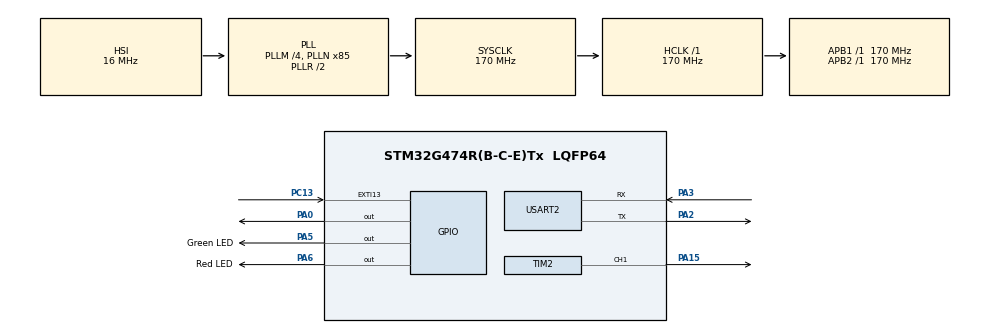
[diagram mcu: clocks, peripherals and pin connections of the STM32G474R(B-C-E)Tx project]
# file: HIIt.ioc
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Mcu.Family=STM32G4
Mcu.Name=STM32G474R(B-C-E)Tx
Mcu.Package=LQFP64
NVIC.EXTI15_10_IRQn=true\:1\:0\:true\:false\:true\:true\:true\:true
NVIC.PriorityGroup=NVIC_PRIORITYGROUP_4
NVIC.TIM2_IRQn=true\:0\:0\:false\:false\:true\:true\:true\:true
NVIC.USART2_IRQn=true\:2\:0\:true\:false\:true\:true\:true\:true
PA0.Signal=GPIO_Output
PA13.GPIO_Label=T_SWDIO
PA13.Signal=SYS_JTMS-SWDIO
PA14.GPIO_Label=T_SWCLK
PA14.Signal=SYS_JTCK-SWCLK
PA15.Signal=S_TIM2_CH1
PA2.Mode=Asynchronous
PA2.Signal=USART2_TX
PA3.Mode=Asynchronous
PA3.Signal=USART2_RX
PA5.GPIO_Label=Green LED
PA5.GPIO_PuPd=GPIO_NOPULL
PA5.Signal=GPIO_Output
PA6.GPIO_Label=Red LED
PA6.Signal=GPIO_Output
PB3.GPIO_Label=T_SWO
PB3.Signal=SYS_JTDO-SWO
PC13.GPIO_ModeDefaultEXTI=GPIO_MODE_IT_FALLING
PC13.GPIO_PuPd=GPIO_PULLUP
PC13.Signal=GPXTI13
PC14-OSC32_IN.GPIO_Label=RCC_OSC32_IN
PC14-OSC32_IN.Signal=RCC_OSC32_IN
PC15-OSC32_OUT.GPIO_Label=RCC_OSC32_OUT
PC15-OSC32_OUT.Signal=RCC_OSC32_OUT
PF0-OSC_IN.GPIO_Label=RCC_OSC_IN
PF0-OSC_IN.Signal=RCC_OSC_IN
PF1-OSC_OUT.GPIO_Label=RCC_OSC_OUT
PF1-OSC_OUT.Signal=RCC_OSC_OUT
ProjectManager.HeapSize=0x200
ProjectManager.StackSize=0x400
ProjectManager.TargetToolchain=STM32CubeIDE
RCC.ADC12Freq_Value=170000000
RCC.ADC345Freq_Value=170000000
RCC.AHBFreq_Value=170000000
RCC.APB1Freq_Value=170000000
RCC.APB1TimFreq_Value=170000000
RCC.APB2Freq_Value=170000000
RCC.APB2TimFreq_Value=170000000
RCC.CortexFreq_Value=170000000
RCC.EXTERNAL_CLOCK_VALUE=12288000
RCC.HCLKFreq_Value=170000000
RCC.HSE_VALUE=24000000
RCC.HSI48_VALUE=48000000
RCC.HSI_VALUE=16000000
RCC.LSE_VALUE=32768
RCC.PLLM=RCC_PLLM_DIV4
RCC.PLLN=85
RCC.RTCClockSelection=RCC_RTCCLKSOURCE_LSE
RCC.SYSCLKFreq_VALUE=170000000
RCC.SYSCLKSource=RCC_SYSCLKSOURCE_PLLCLK
RCC.USBFreq_Value=170000000
RCC.VCOOutputFreq_Value=340000000
SH.S_TIM2_CH1.0=TIM2_CH1,PWM Generation1 CH1
TIM2.AutoReloadPreload=TIM_AUTORELOAD_PRELOAD_DISABLE
TIM2.Channel-PWM\ Generation1\ CH1=TIM_CHANNEL_1
TIM2.PeriodNoDither=999
TIM2.Prescaler=169
TIM2.PulseNoDither_1=500
USART2.SwapParam=ADVFEATURE_SWAP_DISABLE
USART2.VirtualMode-Asynchronous=VM_ASYNC
VP_SYS_VS_DBSignals.Mode=DisableDeadBatterySignals
VP_TIM2_VS_ClockSourceINT.Mode=Internal
board=NUCLEO-G474RE

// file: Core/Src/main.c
/* USER CODE BEGIN Header */
/**
  ******************************************************************************
  * @file           : main.c
  * @brief          : Main program body
  ******************************************************************************
  * @attention
  *
  * Copyright (c) 2026 STMicroelectronics.
  * All rights reserved.
  *
  * This software is licensed under terms that can be found in the LICENSE file
  * in the root directory of this software component.
  * If no LICENSE file comes with this software, it is provided AS-IS.
  *
  ******************************************************************************
  */
/* USER CODE END Header */
#include "main.h"

/* USER CODE BEGIN Includes */
#include <stdio.h>
#include <string.h>
#include <stdlib.h>
/* USER CODE END Includes */

TIM_HandleTypeDef htim2;

UART_HandleTypeDef huart2;

/* USER CODE BEGIN PV */
// HIIT 運行狀態列舉
typedef enum {
    STATE_IDLE = 0,     // 待機狀態
    STATE_EXERCISE,     // 運動狀態 (綠燈)
    STATE_REST          // 休息狀態 (紅燈)
} HIIT_State_t;

HIIT_State_t current_state = STATE_IDLE;

// 參數設定變數
uint32_t total_sets = 3;       // 預設總組數
uint32_t exercise_time = 30;   // 預設運動秒數
uint32_t rest_time = 15;       // 預設休息秒數

// 運行時動態變數
uint32_t current_set = 0;      // 當前組數
uint32_t remaining_time = 0;   // 當前狀態剩餘秒數
uint8_t is_running = 0;        // 0: 暫停/停止, 1: 運行中

// 按鍵去彈跳變數
uint32_t t_btn_last = 0;

// UART 接收緩衝區
#define RX_BUFFER_SIZE 64
uint8_t rx_byte;
char rx_buffer[RX_BUFFER_SIZE];
uint8_t rx_index = 0;
/* USER CODE END PV */

void SystemClock_Config(void);
static void MX_GPIO_Init(void);
static void MX_USART2_UART_Init(void);
static void MX_TIM2_Init(void);

/* USER CODE BEGIN 0 */
/* USER CODE BEGIN 0 */
// 定義初始化周邊的自訂函式
void HIIT_Init_Peripherals(void) {
    // 啟動 TIM2 定時器中斷 (每 1ms 觸發一次)
    HAL_TIM_Base_Start_IT(&htim2);
    // 啟動 USART2 接收中斷 (單字元接收)
    HAL_UART_Receive_IT(&huart2, &rx_byte, 1);

    // 初始化時先關閉所有燈號
    HAL_GPIO_WritePin(GPIOA, GPIO_PIN_5, GPIO_PIN_RESET); // 綠燈關
    HAL_GPIO_WritePin(GPIOA, GPIO_PIN_6, GPIO_PIN_RESET); // 紅燈關
    HAL_GPIO_WritePin(GPIOA, GPIO_PIN_0, GPIO_PIN_RESET); // 蜂鳴器關
}
/* USER CODE END 0 */
/* USER CODE END 0 */

int main(void)
{

  /* MCU Configuration--------------------------------------------------------*/

  /* Reset of all peripherals, Initializes the Flash interface and the Systick. */
  HAL_Init();

  /* Configure the system clock */
  SystemClock_Config();

  /* Initialize all configured peripherals */
  MX_GPIO_Init();
    MX_USART2_UART_Init();
    MX_TIM2_Init();
    /* USER CODE BEGIN 2 */

    // 直接呼叫已經定義好的初始化函式
    HIIT_Init_Peripherals();
  /* USER CODE END 2 */

  /* Infinite loop */
  while (1)
  {

  }
}

void SystemClock_Config(void)
{
  RCC_OscInitTypeDef RCC_OscInitStruct = {0};
  RCC_ClkInitTypeDef RCC_ClkInitStruct = {0};

  /** Configure the main internal regulator output voltage
  */
  HAL_PWREx_ControlVoltageScaling(PWR_REGULATOR_VOLTAGE_SCALE1_BOOST);

  /** Initializes the RCC Oscillators according to the specified parameters
  * in the RCC_OscInitTypeDef structure.
  */
  RCC_OscInitStruct.OscillatorType = RCC_OSCILLATORTYPE_HSI;
  RCC_OscInitStruct.HSIState = RCC_HSI_ON;
  RCC_OscInitStruct.HSICalibrationValue = RCC_HSICALIBRATION_DEFAULT;
  RCC_OscInitStruct.PLL.PLLState = RCC_PLL_ON;
  RCC_OscInitStruct.PLL.PLLSource = RCC_PLLSOURCE_HSI;
  RCC_OscInitStruct.PLL.PLLM = RCC_PLLM_DIV4;
  RCC_OscInitStruct.PLL.PLLN = 85;
  RCC_OscInitStruct.PLL.PLLP = RCC_PLLP_DIV2;
  RCC_OscInitStruct.PLL.PLLQ = RCC_PLLQ_DIV2;
  RCC_OscInitStruct.PLL.PLLR = RCC_PLLR_DIV2;
  if (HAL_RCC_OscConfig(&RCC_OscInitStruct) != HAL_OK)
  {
    Error_Handler();
  }

  /** Initializes the CPU, AHB and APB buses clocks
  */
  RCC_ClkInitStruct.ClockType = RCC_CLOCKTYPE_HCLK|RCC_CLOCKTYPE_SYSCLK
                              |RCC_CLOCKTYPE_PCLK1|RCC_CLOCKTYPE_PCLK2;
  RCC_ClkInitStruct.SYSCLKSource = RCC_SYSCLKSOURCE_PLLCLK;
  RCC_ClkInitStruct.AHBCLKDivider = RCC_SYSCLK_DIV1;
  RCC_ClkInitStruct.APB1CLKDivider = RCC_HCLK_DIV1;
  RCC_ClkInitStruct.APB2CLKDivider = RCC_HCLK_DIV1;

  if (HAL_RCC_ClockConfig(&RCC_ClkInitStruct, FLASH_LATENCY_4) != HAL_OK)
  {
    Error_Handler();
  }
}

static void MX_TIM2_Init(void)
{

  TIM_ClockConfigTypeDef sClockSourceConfig = {0};
  TIM_MasterConfigTypeDef sMasterConfig = {0};
  TIM_OC_InitTypeDef sConfigOC = {0};

  htim2.Instance = TIM2;
  htim2.Init.Prescaler = 169;
  htim2.Init.CounterMode = TIM_COUNTERMODE_UP;
  htim2.Init.Period = 999;
  htim2.Init.ClockDivision = TIM_CLOCKDIVISION_DIV1;
  htim2.Init.AutoReloadPreload = TIM_AUTORELOAD_PRELOAD_DISABLE;
  if (HAL_TIM_Base_Init(&htim2) != HAL_OK)
  {
    Error_Handler();
  }
  sClockSourceConfig.ClockSource = TIM_CLOCKSOURCE_INTERNAL;
  if (HAL_TIM_ConfigClockSource(&htim2, &sClockSourceConfig) != HAL_OK)
  {
    Error_Handler();
  }
  if (HAL_TIM_PWM_Init(&htim2) != HAL_OK)
  {
    Error_Handler();
  }
  sMasterConfig.MasterOutputTrigger = TIM_TRGO_RESET;
  sMasterConfig.MasterSlaveMode = TIM_MASTERSLAVEMODE_DISABLE;
  if (HAL_TIMEx_MasterConfigSynchronization(&htim2, &sMasterConfig) != HAL_OK)
  {
    Error_Handler();
  }
  sConfigOC.OCMode = TIM_OCMODE_PWM1;
  sConfigOC.Pulse = 500;
  sConfigOC.OCPolarity = TIM_OCPOLARITY_HIGH;
  sConfigOC.OCFastMode = TIM_OCFAST_DISABLE;
  if (HAL_TIM_PWM_ConfigChannel(&htim2, &sConfigOC, TIM_CHANNEL_1) != HAL_OK)
  {
    Error_Handler();
  }
  HAL_TIM_MspPostInit(&htim2);

}

static void MX_USART2_UART_Init(void)
{

  huart2.Instance = USART2;
  huart2.Init.BaudRate = 115200;
  huart2.Init.WordLength = UART_WORDLENGTH_8B;
  huart2.Init.StopBits = UART_STOPBITS_1;
  huart2.Init.Parity = UART_PARITY_NONE;
  huart2.Init.Mode = UART_MODE_TX_RX;
  huart2.Init.HwFlowCtl = UART_HWCONTROL_NONE;
  huart2.Init.OverSampling = UART_OVERSAMPLING_16;
  huart2.Init.OneBitSampling = UART_ONE_BIT_SAMPLE_DISABLE;
  huart2.Init.ClockPrescaler = UART_PRESCALER_DIV1;
  huart2.AdvancedInit.AdvFeatureInit = UART_ADVFEATURE_NO_INIT;
  if (HAL_UART_Init(&huart2) != HAL_OK)
  {
    Error_Handler();
  }
  if (HAL_UARTEx_SetTxFifoThreshold(&huart2, UART_TXFIFO_THRESHOLD_1_8) != HAL_OK)
  {
    Error_Handler();
  }
  if (HAL_UARTEx_SetRxFifoThreshold(&huart2, UART_RXFIFO_THRESHOLD_1_8) != HAL_OK)
  {
    Error_Handler();
  }
  if (HAL_UARTEx_DisableFifoMode(&huart2) != HAL_OK)
  {
    Error_Handler();
  }

}

static void MX_GPIO_Init(void)
{
  GPIO_InitTypeDef GPIO_InitStruct = {0};

  /* GPIO Ports Clock Enable */
  __HAL_RCC_GPIOC_CLK_ENABLE();
  __HAL_RCC_GPIOF_CLK_ENABLE();
  __HAL_RCC_GPIOA_CLK_ENABLE();
  __HAL_RCC_GPIOB_CLK_ENABLE();

  /*Configure GPIO pin Output Level */
  HAL_GPIO_WritePin(GPIOA, GPIO_PIN_0|Green_LED_Pin|Red_LED_Pin, GPIO_PIN_RESET);

  /*Configure GPIO pin : PC13 */
  GPIO_InitStruct.Pin = GPIO_PIN_13;
  GPIO_InitStruct.Mode = GPIO_MODE_IT_FALLING;
  GPIO_InitStruct.Pull = GPIO_PULLUP;
  HAL_GPIO_Init(GPIOC, &GPIO_InitStruct);

  /*Configure GPIO pins : PA0 Green_LED_Pin Red_LED_Pin */
  GPIO_InitStruct.Pin = GPIO_PIN_0|Green_LED_Pin|Red_LED_Pin;
  GPIO_InitStruct.Mode = GPIO_MODE_OUTPUT_PP;
  GPIO_InitStruct.Pull = GPIO_NOPULL;
  GPIO_InitStruct.Speed = GPIO_SPEED_FREQ_LOW;
  HAL_GPIO_Init(GPIOA, &GPIO_InitStruct);

  /* EXTI interrupt init*/
  HAL_NVIC_SetPriority(EXTI15_10_IRQn, 1, 0);
  HAL_NVIC_EnableIRQ(EXTI15_10_IRQn);

}

/* USER CODE BEGIN 4 */

/* 1. 按鍵外部中斷 */
void HAL_GPIO_EXTI_Callback(uint16_t GPIO_Pin) {
    if (GPIO_Pin == GPIO_PIN_13) {
        uint32_t ticks = HAL_GetTick();
        if ((ticks - t_btn_last) >= 50) {
            t_btn_last = ticks;
            if (is_running == 0) {
                is_running = 1;
                if (current_state == STATE_IDLE) {
                    current_set = 1;
                    current_state = STATE_EXERCISE;
                    remaining_time = exercise_time;
                }
                char msg[64];
                sprintf(msg, "\r\n[INFO] Start HIIT! Set %lu/%lu\r\n", current_set, total_sets);
                HAL_UART_Transmit(&huart2, (uint8_t*)msg, strlen(msg), 100);
            } else {
                is_running = 0;
                char msg[] = "\r\n[INFO] HIIT Paused.\r\n";
                HAL_UART_Transmit(&huart2, (uint8_t*)msg, strlen(msg), 100);
            }
        }
    }
}

/* 2. UART 接收回調函數 */
void HAL_UART_RxCpltCallback(UART_HandleTypeDef *huart) {
    if (huart->Instance == USART2) {
        // 檢查是否為換行或歸位字元
        if (rx_byte == '\r' || rx_byte == '\n') {
            // 只有當緩衝區內真的有累積字元時才處理（避免 \r\n 連續兩個字元觸發兩次）
            if (rx_index > 0) {
                rx_buffer[rx_index] = '\0';

                char cmd[16];
                uint32_t s, e, r;
                if (sscanf(rx_buffer, "%s %lu %lu %lu", cmd, &s, &e, &r) == 4) {
                    if (strcmp(cmd, "set") == 0) {
                        total_sets = s;
                        exercise_time = e;
                        rest_time = r;
                        char reply[64];
                        sprintf(reply, "\r\n[CONFIG OK] Sets:%lu, Ex:%lus, Rest:%lus\r\n", total_sets, exercise_time, rest_time);
                        HAL_UART_Transmit(&huart2, (uint8_t*)reply, strlen(reply), 100);
                    }
                } else if (strcmp(rx_buffer, "new") == 0) {
                    is_running = 0;
                    current_state = STATE_IDLE;
                    current_set = 0;
                    char reply[] = "\r\n[RESET] HIIT Reset to IDLE.\r\n";
                    HAL_UART_Transmit(&huart2, (uint8_t*)reply, strlen(reply), 100);
                }
                rx_index = 0; // 處理完後歸零
            }
        } else {
            // 正常累積字元
            if (rx_index < RX_BUFFER_SIZE - 1) {
                rx_buffer[rx_index++] = rx_byte;
            }
        }
        // 重新啟動中斷接收下一個字元
        HAL_UART_Receive_IT(&huart2, &rx_byte, 1);
    }
}

/* 3. TIM2 定時中斷 */
static uint32_t ms_counter = 0;

void HAL_TIM_PeriodElapsedCallback(TIM_HandleTypeDef *htim) {
    if (htim->Instance == TIM2) {
        if (!is_running) return;

        ms_counter++;
        if (ms_counter >= 1000) {
            ms_counter = 0;

            if (remaining_time > 0) {
                remaining_time--;

                char report_msg[64];
                sprintf(report_msg, "[REPORT] State:%d | Set:%lu/%lu | Remaining:%lus\r\n",
                        current_state, current_set, total_sets, remaining_time);
                HAL_UART_Transmit(&huart2, (uint8_t*)report_msg, strlen(report_msg), 10);

                if (current_state == STATE_EXERCISE) {
                    HAL_GPIO_WritePin(GPIOA, GPIO_PIN_5, GPIO_PIN_SET);
                    HAL_GPIO_WritePin(GPIOA, GPIO_PIN_6, GPIO_PIN_RESET);
                    HAL_GPIO_WritePin(GPIOA, GPIO_PIN_0, GPIO_PIN_RESET);

                    if (remaining_time == 0) {
                        current_state = STATE_REST;
                        remaining_time = rest_time;
                    }
                }
                else if (current_state == STATE_REST) {
                    HAL_GPIO_WritePin(GPIOA, GPIO_PIN_5, GPIO_PIN_RESET);

                    if (remaining_time <= 10) {
                        HAL_GPIO_TogglePin(GPIOA, GPIO_PIN_6);
                    } else {
                        HAL_GPIO_WritePin(GPIOA, GPIO_PIN_6, GPIO_PIN_SET);
                    }

                    if (remaining_time <= 3 && remaining_time > 0) {
                        HAL_GPIO_WritePin(GPIOA, GPIO_PIN_0, GPIO_PIN_SET);
                    } else {
                        HAL_GPIO_WritePin(GPIOA, GPIO_PIN_0, GPIO_PIN_RESET);
                    }

                    if (remaining_time == 0) {
                        HAL_GPIO_WritePin(GPIOA, GPIO_PIN_0, GPIO_PIN_RESET);
                        current_set++;
                        if (current_set > total_sets) {
                            is_running = 0;
                            current_state = STATE_IDLE;
                            HAL_GPIO_WritePin(GPIOA, GPIO_PIN_5, GPIO_PIN_RESET);
                            HAL_GPIO_WritePin(GPIOA, GPIO_PIN_6, GPIO_PIN_RESET);
                            char finish_msg[] = "\r\n[FINISH] HIIT Workout Complete!\r\n";
                            HAL_UART_Transmit(&huart2, (uint8_t*)finish_msg, strlen(finish_msg), 100);
                        } else {
                            current_state = STATE_EXERCISE;
                            remaining_time = exercise_time;
                        }
                    }
                }
            }
        }
    }
}
/* USER CODE END 4 */

void Error_Handler(void)
{
  __disable_irq();
  while (1)
  {
  }
}
